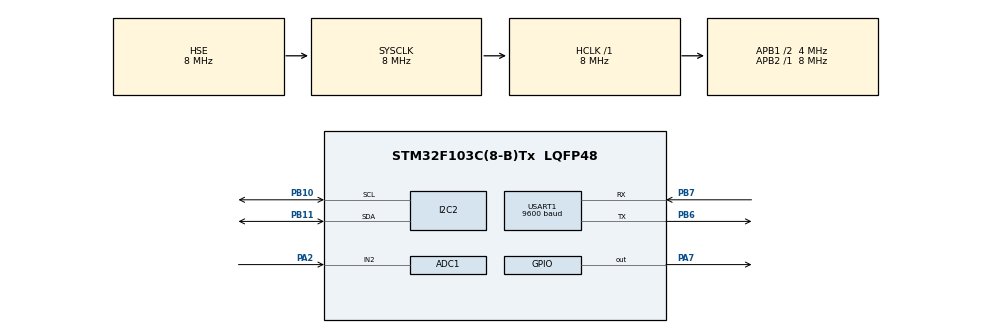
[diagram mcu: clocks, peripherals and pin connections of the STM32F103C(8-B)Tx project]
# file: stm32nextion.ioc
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ADC1.Channel-0\#ChannelRegularConversion=ADC_CHANNEL_2
ADC1.NbrOfConversionFlag=1
ADC1.Rank-0\#ChannelRegularConversion=1
ADC1.SamplingTime-0\#ChannelRegularConversion=ADC_SAMPLETIME_1CYCLE_5
ADC1.master=1
Mcu.Family=STM32F1
Mcu.Name=STM32F103C(8-B)Tx
Mcu.Package=LQFP48
NVIC.PriorityGroup=NVIC_PRIORITYGROUP_4
NVIC.USART1_IRQn=true\:0\:0\:false\:false\:true\:true\:true\:true
PA13.Mode=Serial_Wire
PA13.Signal=SYS_JTMS-SWDIO
PA14.Mode=Serial_Wire
PA14.Signal=SYS_JTCK-SWCLK
PA2.Signal=ADCx_IN2
PA7.Signal=GPIO_Output
PB10.Mode=I2C
PB10.Signal=I2C2_SCL
PB11.Mode=I2C
PB11.Signal=I2C2_SDA
PB6.Mode=Asynchronous
PB6.Signal=USART1_TX
PB7.Mode=Asynchronous
PB7.Signal=USART1_RX
PD0-OSC_IN.Mode=HSE-External-Oscillator
PD0-OSC_IN.Signal=RCC_OSC_IN
PD1-OSC_OUT.Mode=HSE-External-Oscillator
PD1-OSC_OUT.Signal=RCC_OSC_OUT
ProjectManager.HeapSize=0x200
ProjectManager.StackSize=0x400
ProjectManager.TargetToolchain=STM32CubeIDE
RCC.AHBFreq_Value=8000000
RCC.APB1CLKDivider=RCC_HCLK_DIV2
RCC.APB1Freq_Value=4000000
RCC.APB1TimFreq_Value=8000000
RCC.APB2Freq_Value=8000000
RCC.APB2TimFreq_Value=8000000
RCC.HCLKFreq_Value=8000000
RCC.PLLSourceVirtual=RCC_PLLSOURCE_HSE
RCC.SYSCLKFreq_VALUE=8000000
RCC.SYSCLKSource=RCC_SYSCLKSOURCE_HSE
RCC.USBFreq_Value=16000000
SH.ADCx_IN2.0=ADC1_IN2,IN2
USART1.BaudRate=9600
USART1.VirtualMode=VM_ASYNC
board=custom

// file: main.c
/* USER CODE BEGIN Header */
/**
  * Created by Umut Sar contact@umutsar.com
  ******************************************************************************
  * @file           : main.c
  * @brief          : Main program body
  ******************************************************************************
  * @attention
  *
  * Copyright (c) 2023 STMicroelectronics.
  * All rights reserved.
  *
  * This software is licensed under terms that can be found in the LICENSE file
  * in the root directory of this software component.
  * If no LICENSE file comes with this software, it is provided AS-IS.
  *
  *
  ******************************************************************************
  */
/* USER CODE END Header */
#include "main.h"

/* USER CODE BEGIN Includes */
#include "stdio.h"
#include "string.h"
/* USER CODE END Includes */

ADC_HandleTypeDef hadc1;

I2C_HandleTypeDef hi2c2;

UART_HandleTypeDef huart1;

void SystemClock_Config(void);
static void MX_GPIO_Init(void);
static void MX_USART1_UART_Init(void);
static void MX_ADC1_Init(void);
static void MX_I2C2_Init(void);

/* USER CODE BEGIN 0 */
uint8_t Cmd_End[3] = {0xFF, 0xFF, 0xFF};

void Nextion_SendString(char * Id, char * String)
{
	char buf[50];
    int len = sprintf(buf, "%s.txt=\"%s\"",Id, String);

	HAL_UART_Transmit(&huart1, (uint8_t *)buf, len, 1000);
	HAL_UART_Transmit(&huart1, Cmd_End, 3, 1000);
}

/* USER CODE END 0 */

int main(void)
{
  /* USER CODE BEGIN 1 */
	uint16_t data;
  /* USER CODE END 1 */

  /* MCU Configuration--------------------------------------------------------*/

  /* Reset of all peripherals, Initializes the Flash interface and the Systick. */
  HAL_Init();

  /* Configure the system clock */
  SystemClock_Config();

  /* Initialize all configured peripherals */
  MX_GPIO_Init();
  MX_USART1_UART_Init();
  MX_ADC1_Init();
  MX_I2C2_Init();
  /* USER CODE BEGIN 2 */
  int new_data;
  /* USER CODE END 2 */

  /* Infinite loop */
  /* USER CODE BEGIN WHILE */

while(1)
{
	HAL_ADC_Start(&hadc1);
	data = HAL_ADC_GetValue(&hadc1);
	int new_data = data * 33.4 /1000;
	char new_data2[5];
	sprintf(new_data2, "%d", new_data);
	Nextion_SendString("t3", new_data2);

	if(new_data > 50) {
		HAL_GPIO_WritePin(GPIOA, GPIO_PIN_7, GPIO_PIN_SET);
	}
	else {
		HAL_GPIO_WritePin(GPIOA, GPIO_PIN_7, GPIO_PIN_RESET);
	}
}
    /* USER CODE END WHILE */

}

void SystemClock_Config(void)
{
  RCC_OscInitTypeDef RCC_OscInitStruct = {0};
  RCC_ClkInitTypeDef RCC_ClkInitStruct = {0};
  RCC_PeriphCLKInitTypeDef PeriphClkInit = {0};

  /** Initializes the RCC Oscillators according to the specified parameters
  * in the RCC_OscInitTypeDef structure.
  */
  RCC_OscInitStruct.OscillatorType = RCC_OSCILLATORTYPE_HSE;
  RCC_OscInitStruct.HSEState = RCC_HSE_ON;
  RCC_OscInitStruct.PLL.PLLState = RCC_PLL_NONE;
  if (HAL_RCC_OscConfig(&RCC_OscInitStruct) != HAL_OK)
  {
    Error_Handler();
  }

  /** Initializes the CPU, AHB and APB buses clocks
  */
  RCC_ClkInitStruct.ClockType = RCC_CLOCKTYPE_HCLK|RCC_CLOCKTYPE_SYSCLK
                              |RCC_CLOCKTYPE_PCLK1|RCC_CLOCKTYPE_PCLK2;
  RCC_ClkInitStruct.SYSCLKSource = RCC_SYSCLKSOURCE_HSE;
  RCC_ClkInitStruct.AHBCLKDivider = RCC_SYSCLK_DIV1;
  RCC_ClkInitStruct.APB1CLKDivider = RCC_HCLK_DIV2;
  RCC_ClkInitStruct.APB2CLKDivider = RCC_HCLK_DIV1;

  if (HAL_RCC_ClockConfig(&RCC_ClkInitStruct, FLASH_LATENCY_0) != HAL_OK)
  {
    Error_Handler();
  }
  PeriphClkInit.PeriphClockSelection = RCC_PERIPHCLK_ADC;
  PeriphClkInit.AdcClockSelection = RCC_ADCPCLK2_DIV2;
  if (HAL_RCCEx_PeriphCLKConfig(&PeriphClkInit) != HAL_OK)
  {
    Error_Handler();
  }
}

static void MX_ADC1_Init(void)
{

  ADC_ChannelConfTypeDef sConfig = {0};

  /** Common config
  */
  hadc1.Instance = ADC1;
  hadc1.Init.ScanConvMode = ADC_SCAN_DISABLE;
  hadc1.Init.ContinuousConvMode = DISABLE;
  hadc1.Init.DiscontinuousConvMode = DISABLE;
  hadc1.Init.ExternalTrigConv = ADC_SOFTWARE_START;
  hadc1.Init.DataAlign = ADC_DATAALIGN_RIGHT;
  hadc1.Init.NbrOfConversion = 1;
  if (HAL_ADC_Init(&hadc1) != HAL_OK)
  {
    Error_Handler();
  }

  /** Configure Regular Channel
  */
  sConfig.Channel = ADC_CHANNEL_2;
  sConfig.Rank = ADC_REGULAR_RANK_1;
  sConfig.SamplingTime = ADC_SAMPLETIME_1CYCLE_5;
  if (HAL_ADC_ConfigChannel(&hadc1, &sConfig) != HAL_OK)
  {
    Error_Handler();
  }

}

static void MX_I2C2_Init(void)
{

  hi2c2.Instance = I2C2;
  hi2c2.Init.ClockSpeed = 100000;
  hi2c2.Init.DutyCycle = I2C_DUTYCYCLE_2;
  hi2c2.Init.OwnAddress1 = 0;
  hi2c2.Init.AddressingMode = I2C_ADDRESSINGMODE_7BIT;
  hi2c2.Init.DualAddressMode = I2C_DUALADDRESS_DISABLE;
  hi2c2.Init.OwnAddress2 = 0;
  hi2c2.Init.GeneralCallMode = I2C_GENERALCALL_DISABLE;
  hi2c2.Init.NoStretchMode = I2C_NOSTRETCH_DISABLE;
  if (HAL_I2C_Init(&hi2c2) != HAL_OK)
  {
    Error_Handler();
  }

}

static void MX_USART1_UART_Init(void)
{

  huart1.Instance = USART1;
  huart1.Init.BaudRate = 9600;
  huart1.Init.WordLength = UART_WORDLENGTH_8B;
  huart1.Init.StopBits = UART_STOPBITS_1;
  huart1.Init.Parity = UART_PARITY_NONE;
  huart1.Init.Mode = UART_MODE_TX_RX;
  huart1.Init.HwFlowCtl = UART_HWCONTROL_NONE;
  huart1.Init.OverSampling = UART_OVERSAMPLING_16;
  if (HAL_UART_Init(&huart1) != HAL_OK)
  {
    Error_Handler();
  }

}

static void MX_GPIO_Init(void)
{
  GPIO_InitTypeDef GPIO_InitStruct = {0};

  /* GPIO Ports Clock Enable */
  __HAL_RCC_GPIOD_CLK_ENABLE();
  __HAL_RCC_GPIOA_CLK_ENABLE();
  __HAL_RCC_GPIOB_CLK_ENABLE();

  /*Configure GPIO pin Output Level */
  HAL_GPIO_WritePin(GPIOA, GPIO_PIN_7, GPIO_PIN_RESET);

  /*Configure GPIO pin : PA7 */
  GPIO_InitStruct.Pin = GPIO_PIN_7;
  GPIO_InitStruct.Mode = GPIO_MODE_OUTPUT_PP;
  GPIO_InitStruct.Pull = GPIO_NOPULL;
  GPIO_InitStruct.Speed = GPIO_SPEED_FREQ_LOW;
  HAL_GPIO_Init(GPIOA, &GPIO_InitStruct);

}

void Error_Handler(void)
{
  __disable_irq();
  while (1)
  {
  }
}
